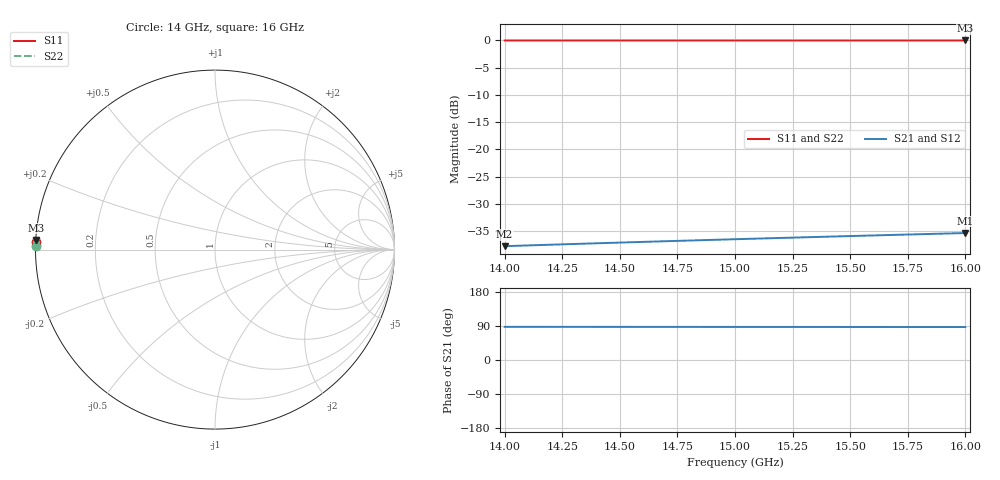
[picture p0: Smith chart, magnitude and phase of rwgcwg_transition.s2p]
! Touchstone file exported from HFSS 2024.2.0
!  File:  C:/Users/peter/Documents/Ansoft/Maybell_cavity/CavityFromMaybell.aedt
!  Generated:  01:52:41 PM Jun  1, 2025
!  Design:  LossyTransition
!  Project:  CavityFromMaybell
!  Setup:  Setup1
!  Solution:  Sweep
! Variables:
!  $epsr = 5.5
!  $tandel = 0.003
!  a = 0.35in
!  d = 3.5in
!  f0_ideal = 15.3934197621267GHz
!  iris_radius = 0.0705in
!  iris_width = 0.04in
!  rwg_a = 0.622in
!  rwg_b = 0.311in
!  rwg_length = 0.3in
!Data is not renormalized
# GHz S RI
! Terminal data exported
! Port[1] = Port1
! Port[2] = Port2
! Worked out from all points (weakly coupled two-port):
!   101 points, 14 GHz to 16 GHz, reference per port
!   highest |S21| = -35.38 dB at 16 GHz (marker M1); lowest = -37.8 dB at 14 GHz (marker M2)
!   lowest |S11| = 0.0 dB at 16 GHz (marker M3)
!   |S11| at or under -10 dB: nowhere
!   |S22| runs from 0.0 to 0.0 dB; largest |S21 - S12| = 1e-16
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14  -0.9977 0.0422  0.000565 0.0129  0.000565 0.0129  -0.9985 0.022
14.08  -0.9977 0.0426  0.000577 0.013  0.000577 0.013  -0.9985 0.0222
14.16  -0.9976 0.0431  0.000588 0.0132  0.000588 0.0132  -0.9985 0.0225
14.24  -0.9976 0.0436  0.0006 0.0134  0.0006 0.0134  -0.9985 0.0228
14.34  -0.9975 0.0442  0.000615 0.0136  0.000615 0.0136  -0.9985 0.0231
14.42  -0.9975 0.0446  0.000627 0.0137  0.000627 0.0137  -0.9984 0.0234
14.5  -0.9975 0.0451  0.000639 0.0139  0.000639 0.0139  -0.9984 0.0236
14.58  -0.9974 0.0456  0.000651 0.0141  0.000651 0.0141  -0.9984 0.0239
14.68  -0.9974 0.0462  0.000667 0.0143  0.000667 0.0143  -0.9984 0.0242
14.76  -0.9974 0.0466  0.000679 0.0144  0.000679 0.0144  -0.9984 0.0245
14.84  -0.9973 0.0471  0.000692 0.0146  0.000692 0.0146  -0.9983 0.0248
14.92  -0.9973 0.0476  0.000704 0.0147  0.000704 0.0147  -0.9983 0.025
15  -0.9973 0.048  0.000717 0.0149  0.000717 0.0149  -0.9983 0.0253
15.08  -0.9972 0.0485  0.00073 0.0151  0.00073 0.0151  -0.9983 0.0255
15.16  -0.9972 0.049  0.000743 0.0152  0.000743 0.0152  -0.9983 0.0258
15.24  -0.9972 0.0494  0.000757 0.0154  0.000757 0.0154  -0.9982 0.0261
15.34  -0.9971 0.05  0.000774 0.0156  0.000774 0.0156  -0.9982 0.0264
15.5  -0.9971 0.0509  0.000801 0.0159  0.000801 0.0159  -0.9982 0.0269
15.58  -0.997 0.0514  0.000815 0.0161  0.000815 0.0161  -0.9982 0.0272
15.68  -0.997 0.052  0.000832 0.0163  0.000832 0.0163  -0.9981 0.0275
15.84  -0.9969 0.0529  0.000861 0.0167  0.000861 0.0167  -0.9981 0.0281
16  -0.9968 0.0538  0.00089 0.017  0.00089 0.017  -0.9981 0.0286
